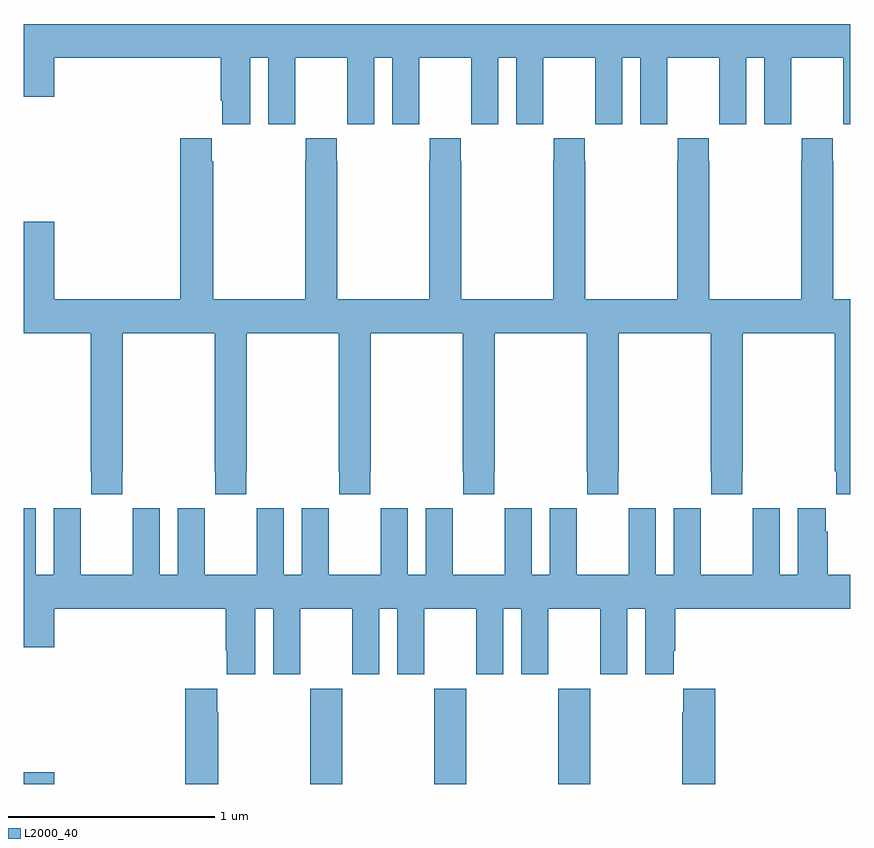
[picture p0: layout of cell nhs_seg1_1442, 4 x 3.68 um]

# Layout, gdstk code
import gdstk
lib = gdstk.Library(unit=1e-6, precision=1e-09)
def R(c, l, rs):  # rectangles x0, y0, x1, y1
    for r in rs: c.add(gdstk.rectangle(r[:2], r[2:], *l))
def A(c, l, x, y, w, h, nx, ny, dx, dy):  # array of equal rectangles
    R(c, l, [(x+i*dx, y+j*dy, x+i*dx+w, y+j*dy+h) for i in range(nx) for j in range(ny)])
def P(c, l, *ps):  # polygons
    for p in ps: c.add(gdstk.Polygon(p, *l))
L2000_40 = (2000, 40)

nhs_seg1_1442 = lib.new_cell('nhs_seg1_1442')
A(nhs_seg1_1442, L2000_40, 190.387, 568.199, 0.155, 0.461, 3, 1, 0.6, 0)
R(nhs_seg1_1442, L2000_40, [(189,568.199,189.148,568.255)])
P(nhs_seg1_1442, L2000_40, [(190.096,571.712),(190.184,571.712),(190.184,571.392),(190.314,571.392),(190.314,571.504),(190.315,571.504),(190.315,571.712),(190.565,571.712),(190.565,571.504),(190.566,571.504),(190.566,571.392),(190.696,571.392),(190.696,571.712),(190.784,571.712),(190.784,571.392),(190.914,571.392),(190.914,571.504),(190.915,571.504),(190.915,571.712),(191.165,571.712),(191.165,571.504),(191.166,571.504),(191.166,571.392),(191.296,571.392),(191.296,571.712),(191.384,571.712),(191.384,571.392),(191.514,571.392),(191.514,571.504),(191.515,571.504),(191.515,571.712),(191.765,571.712),(191.765,571.504),(191.766,571.504),(191.766,571.392),(191.896,571.392),(191.896,571.712),(191.984,571.712),(191.984,571.392),(192.114,571.392),(192.114,571.504),(192.115,571.504),(192.115,571.712),(192.365,571.712),(192.365,571.504),(192.366,571.504),(192.366,571.392),(192.496,571.392),(192.496,571.712),(192.584,571.712),(192.584,571.392),(192.714,571.392),(192.714,571.504),(192.715,571.504),(192.715,571.712),(192.965,571.712),(192.965,571.504),(192.966,571.504),(192.966,571.392),(193,571.392),(193,571.876),(189,571.876),(189,571.524),(189.148,571.524),(189.148,571.712),(189.953,571.712),(189.953,571.504),(189.962,571.504),(189.962,571.392),(190.096,571.392)],
  [(191.118,571.211),(191.115,571.211),(191.115,571.324),(190.965,571.324),(190.965,571.211),(190.963,571.211),(190.963,570.544),(190.518,570.544),(190.518,571.211),(190.515,571.211),(190.515,571.324),(190.365,571.324),(190.365,571.211),(190.363,571.211),(190.363,570.544),(189.918,570.544),(189.918,571.211),(189.911,571.211),(189.911,571.324),(189.758,571.324),(189.758,570.544),(189.148,570.544),(189.148,570.919),(189,570.919),(189,570.38),(189.325,570.38),(189.325,569.713),(189.327,569.713),(189.327,569.601),(189.477,569.601),(189.477,569.713),(189.48,569.713),(189.48,570.38),(189.925,570.38),(189.925,569.713),(189.927,569.713),(189.927,569.601),(190.077,569.601),(190.077,569.713),(190.08,569.713),(190.08,570.38),(190.525,570.38),(190.525,569.713),(190.527,569.713),(190.527,569.601),(190.677,569.601),(190.677,569.713),(190.68,569.713),(190.68,570.38),(191.125,570.38),(191.125,569.713),(191.127,569.713),(191.127,569.601),(191.277,569.601),(191.277,569.713),(191.28,569.713),(191.28,570.38),(191.725,570.38),(191.725,569.713),(191.727,569.713),(191.727,569.601),(191.877,569.601),(191.877,569.713),(191.88,569.713),(191.88,570.38),(192.325,570.38),(192.325,569.713),(192.327,569.713),(192.327,569.601),(192.477,569.601),(192.477,569.713),(192.48,569.713),(192.48,570.38),(192.925,570.38),(192.925,569.713),(192.931,569.713),(192.931,569.601),(193,569.601),(193,570.544),(192.918,570.544),(192.918,571.211),(192.915,571.211),(192.915,571.324),(192.765,571.324),(192.765,571.211),(192.763,571.211),(192.763,570.544),(192.318,570.544),(192.318,571.211),(192.315,571.211),(192.315,571.324),(192.165,571.324),(192.165,571.211),(192.163,571.211),(192.163,570.544),(191.718,570.544),(191.718,571.211),(191.715,571.211),(191.715,571.324),(191.565,571.324),(191.565,571.211),(191.563,571.211),(191.563,570.544),(191.118,570.544)],
  [(191.458,569.533),(191.328,569.533),(191.328,569.42),(191.327,569.42),(191.327,569.212),(191.077,569.212),(191.077,569.42),(191.076,569.42),(191.076,569.533),(190.946,569.533),(190.946,569.212),(190.858,569.212),(190.858,569.533),(190.728,569.533),(190.728,569.42),(190.727,569.42),(190.727,569.212),(190.477,569.212),(190.477,569.42),(190.476,569.42),(190.476,569.533),(190.346,569.533),(190.346,569.212),(190.258,569.212),(190.258,569.533),(190.128,569.533),(190.128,569.42),(190.127,569.42),(190.127,569.212),(189.877,569.212),(189.877,569.42),(189.876,569.42),(189.876,569.533),(189.746,569.533),(189.746,569.212),(189.658,569.212),(189.658,569.533),(189.528,569.533),(189.528,569.42),(189.527,569.42),(189.527,569.212),(189.277,569.212),(189.277,569.42),(189.276,569.42),(189.276,569.533),(189.146,569.533),(189.146,569.212),(189.058,569.212),(189.058,569.533),(189,569.533),(189,568.86),(189.148,568.86),(189.148,569.048),(189.977,569.048),(189.977,568.843),(189.983,568.843),(189.983,568.731),(190.12,568.731),(190.12,569.048),(190.208,569.048),(190.208,568.731),(190.339,568.731),(190.339,569.048),(190.589,569.048),(190.589,568.731),(190.72,568.731),(190.72,569.048),(190.808,569.048),(190.808,568.731),(190.939,568.731),(190.939,569.048),(191.189,569.048),(191.189,568.731),(191.32,568.731),(191.32,569.048),(191.408,569.048),(191.408,568.731),(191.539,568.731),(191.539,569.048),(191.789,569.048),(191.789,568.731),(191.92,568.731),(191.92,569.048),(192.008,569.048),(192.008,568.731),(192.145,568.731),(192.145,568.843),(192.152,568.843),(192.152,569.048),(193,569.048),(193,569.212),(192.89,569.212),(192.89,569.42),(192.88,569.42),(192.88,569.533),(192.746,569.533),(192.746,569.212),(192.658,569.212),(192.658,569.533),(192.528,569.533),(192.528,569.42),(192.527,569.42),(192.527,569.212),(192.277,569.212),(192.277,569.42),(192.276,569.42),(192.276,569.533),(192.146,569.533),(192.146,569.212),(192.058,569.212),(192.058,569.533),(191.928,569.533),(191.928,569.42),(191.927,569.42),(191.927,569.212),(191.677,569.212),(191.677,569.42),(191.676,569.42),(191.676,569.533),(191.546,569.533),(191.546,569.212),(191.458,569.212)],
  [(189.942,568.547),(189.937,568.547),(189.937,568.66),(189.782,568.66),(189.782,568.199),(189.942,568.199)],
  [(192.347,568.66),(192.191,568.66),(192.191,568.547),(192.187,568.547),(192.187,568.199),(192.347,568.199)])

lib.write_gds('nhs_seg1_1442.gds')
